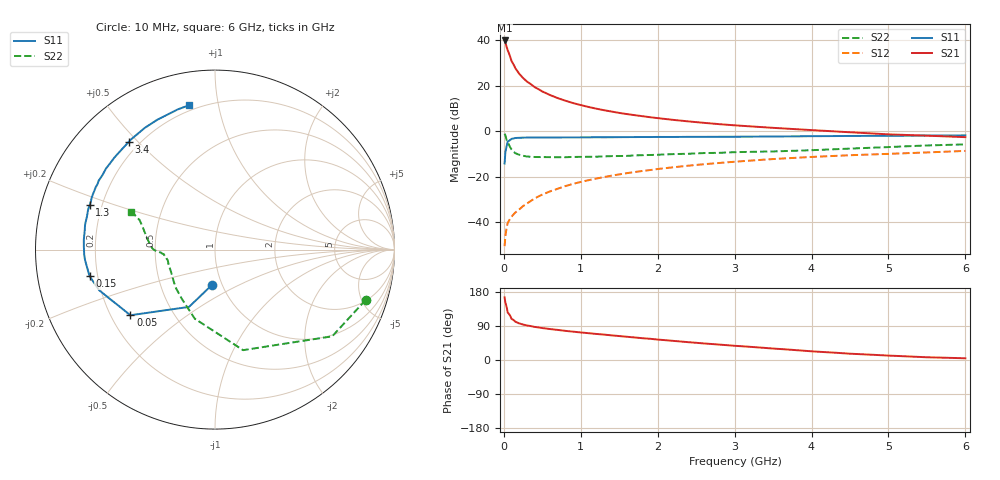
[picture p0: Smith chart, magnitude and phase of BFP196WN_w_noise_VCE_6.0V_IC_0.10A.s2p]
! (c) 2017  Infineon Technologies AG, Munich
! Infineon Technologies  Discrete & RF Semiconductors
! BFP196WN
! VCE =  6.0 V,  IC = 0.10 A
! Common Emitter S-Parameters:  Jan 2017
# GHz  S  MA  R  50
!  f  S11  S21  S12  S22
! GHz  MAG  ANG  MAG  ANG  MAG  ANG  MAG  ANG
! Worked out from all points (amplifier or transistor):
!   77 points, 10 MHz to 6 GHz, reference 50 ohm
!   highest |S21| = 39.9 dB at 10 MHz (marker M1)
!   |S21| within 3 dB of that: start of sweep to 37.78 MHz
!   unconditionally stable (mu >= 1): 491.5 MHz to 2.508 GHz
!   at 130 MHz: K = 0.70, MSG = 32.7 dB, |S12| = -36.4 dB
!   at 2.2 GHz: K = 1.02, MAG = 9.6 dB, |S12| = -15.8 dB
!   at 6 GHz: K = 0.91, MSG = 3.0 dB, |S12| = -8.6 dB
!   lowest NFmin = 1.80 dB at 450 MHz
!   S11 on the Smith chart (normalised r, x): 10 MHz: 0.90, -0.37; 50 MHz: 0.28, -0.32; 150 MHz: 0.17, -0.10; 1.3 GHz: 0.15, +0.17; 3.4 GHz: 0.16, +0.47; 6 GHz: 0.17, +0.82
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0.01  0.1968 -94.7  99.22 165.2  0.003 76.4  0.8849 -18.5
0.02  0.3507 -114.4  88.69 151.1  0.005 70.4  0.8124 -36.5
0.05  0.5968 -142.2  60.58 125.3  0.0097 53.0  0.5817 -74.4
0.1  0.6834 -160.6  35.06 108.5  0.0133 55.6  0.4011 -106.3
0.15  0.7144 -168.0  24.31 101.1  0.0165 57.5  0.3303 -124.2
0.2  0.7201 -172.4  18.42 96.6  0.0192 62.2  0.3053 -135.5
0.25  0.7267 -175.5  14.85 93.5  0.0228 63.1  0.2905 -142.5
0.3  0.7293 -177.9  12.43 91.1  0.0259 65.8  0.2797 -148.5
0.4  0.7308 178.7  9.384 87.3  0.0334 70.0  0.273 -155.3
0.5  0.7329 175.9  7.516 84.3  0.0408 70.4  0.2721 -160.1
0.6  0.733 173.5  6.278 81.7  0.0479 71.3  0.2712 -163.7
0.7  0.7337 171.5  5.374 79.4  0.0548 72.3  0.2697 -166.1
0.9  0.7367 167.3  4.179 74.8  0.0702 71.9  0.2736 -169.0
1.1  0.739 163.9  3.432 70.8  0.0845 71.4  0.2757 -171.7
1.3  0.7403 160.4  2.914 67.1  0.0988 70.4  0.2811 -172.8
1.6  0.7469 155.7  2.394 61.3  0.1207 68.5  0.2891 -175.1
2.1  0.7524 147.9  1.868 52.3  0.1554 64.5  0.3109 -177.5
3.1  0.7622 133.1  1.321 36.2  0.2209 56.0  0.3512 178.3
3.4  0.7686 128.8  1.224 31.8  0.2397 53.5  0.3591 176.3
4.1  0.7839 118.9  1.042 21.7  0.2786 47.2  0.3914 168.8
5.1  0.7998 108.2  0.847 10.8  0.3248 39.3  0.4587 158.2
6  0.8167 100.4  0.745 4.5  0.3716 33.3  0.5159 155.8
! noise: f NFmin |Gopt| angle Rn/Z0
0.45  1.8  0.6  -174  0.06
0.9  1.96  0.61  -167  0.08
1.9  2.98  0.71  -146  0.26
2.4  3.72  0.72  -137  0.44
